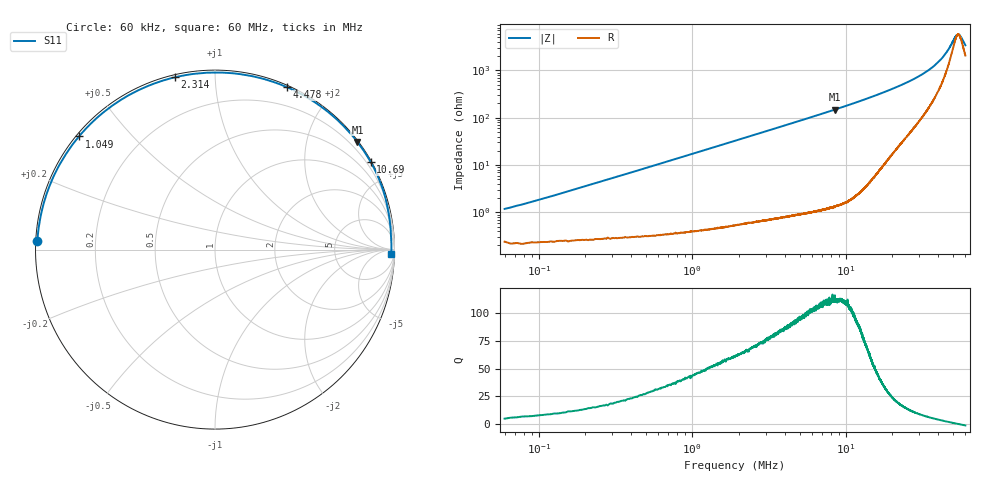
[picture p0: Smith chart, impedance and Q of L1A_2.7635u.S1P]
!Keysight Technologies,E5063A,MY54100949,A.07.30
!Date: Wed Dec 31 03:25:33 2025
!Data & Calibration Information:
!Freq	S11:SOLT1(ON)
# Hz S RI R 50
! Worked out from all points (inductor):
!   10001 points, 60 kHz to 60 MHz, reference 50 ohm
!   read as one part to ground: L = 2.76 uH near 359.7 kHz
!   highest Q = 113 at 8.482 MHz (marker M1), where L = 2.79 uH
!   self-resonance near 53.92 MHz
!   S11 on the Smith chart (normalised r, x): 60 kHz: 0.00, +0.02; 1.049 MHz: 0.01, +0.36; 2.314 MHz: 0.01, +0.79; 4.478 MHz: 0.02, +1.54; 10.69 MHz: 0.04, +3.82; 60 MHz: 41, -54
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60000  -0.9894 0.0458
257802  -0.9731 0.1776
521538  -0.9252 0.3464
791268  -0.8493 0.502
1049010  -0.7578 0.6306
1348710  -0.6359 0.7527
1654404  -0.5032 0.8466
1972086  -0.3652 0.9149
2313744  -0.2226 0.9598
2793264  -0.041 0.9858
3362694  0.1414 0.9776
3908148  0.2837 0.9472
4477578  0.4034 0.9041
5130924  0.5112 0.8491
5844210  0.6019 0.7887
6647406  0.6788 0.7248
7552500  0.7438 0.6594
8481570  0.7933 0.6003
1.068736e7  0.8679 0.4872
1.27493e7  0.9075 0.4077
1.5045e7  0.9338 0.3399
1.84436e7  0.9548 0.2661
2.25375e7  0.9672 0.2037
3.003e7  0.9771 0.1282
3.75225e7  0.981 0.0772
4.5015e7  0.9826 0.0382
5.25075e7  0.9828 0.00561
6e7  0.9821 -0.0229
